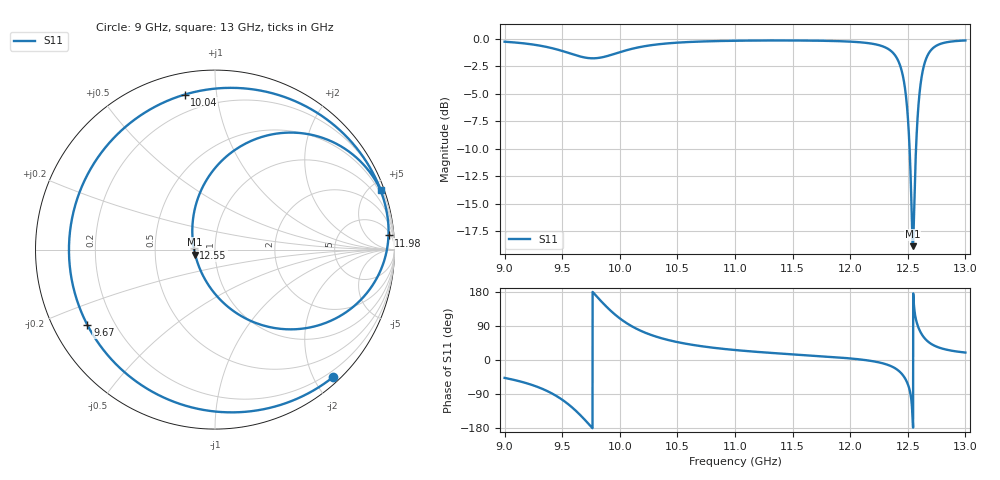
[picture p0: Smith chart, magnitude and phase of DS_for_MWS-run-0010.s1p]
! TOUCHSTONE file generated by CST DESIGN STUDIO
! Date and time: Tue Feb  4 16:13:23 2025
! Project name: C:\Work\MatlabApps\UnitCellOptimizationMatlab\CST\unitcell.cst
! Tree item: Tasks\Sweep1\SPara1\S-Parameters
! Header version: 2024
! Port assignment regex: !\s*Touchstone port\s*([0-9]+)\s*=\s*(CST MWS port|CST DES external port|CST DES block port)\s*(.+)\s* \(\"(.*)\"\)(\s*mode\s*([0-9]+))?.*
! Touchstone port assignment:
! Touchstone port 1 = CST DES external port 1 ("")
# GHz S MA R 50
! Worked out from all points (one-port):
!   4001 points, 9 GHz to 13 GHz, reference 50 ohm
!   lowest |S11| = -18.9 dB at 12.54 GHz (marker M1), VSWR 1.26, Z = 40 - j2.22 ohm
!   |S11| at or under -10 dB: 12.51559 GHz to 12.57138 GHz (55.79 MHz wide, 0.445 % of centre)
!   S11 on the Smith chart (normalised r, x): 9 GHz: 0.10, -2.28; 9.67 GHz: 0.10, -0.27; 10.04 GHz: 0.11, +0.82; 11.98 GHz: 8, +22; 12.55 GHz: 0.79, +0.01; 13 GHz: 0.33, +5.76
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9  0.968 -47.2
9.27  0.9358 -69.2
9.5  0.8787 -104.8
9.586  0.8504 -125.2
9.67  0.8258 -149.4
9.744  0.8144 -173.6
9.814  0.8168 162.9
9.909  0.8384 133.3
10  0.8674 109.8
10.04  0.88 101.1
10.251  0.93 68.4
10.5  0.9586 47.2
11  0.9777 26.3
11.5  0.9805 14.9
11.981  0.9699 4.7
12  0.9688 4.1
12.359  0.8744 -16.8
12.437  0.7445 -33.0
12.5  0.442 -63.6
12.531  0.1818 -106.2
12.544  0.1139 -166.1
12.547  0.1187 175.5
12.568  0.2845 111.0
12.594  0.5087 84.4
12.639  0.7499 60.1
12.692  0.8737 44.7
12.759  0.9349 34.2
13  0.9808 19.6
